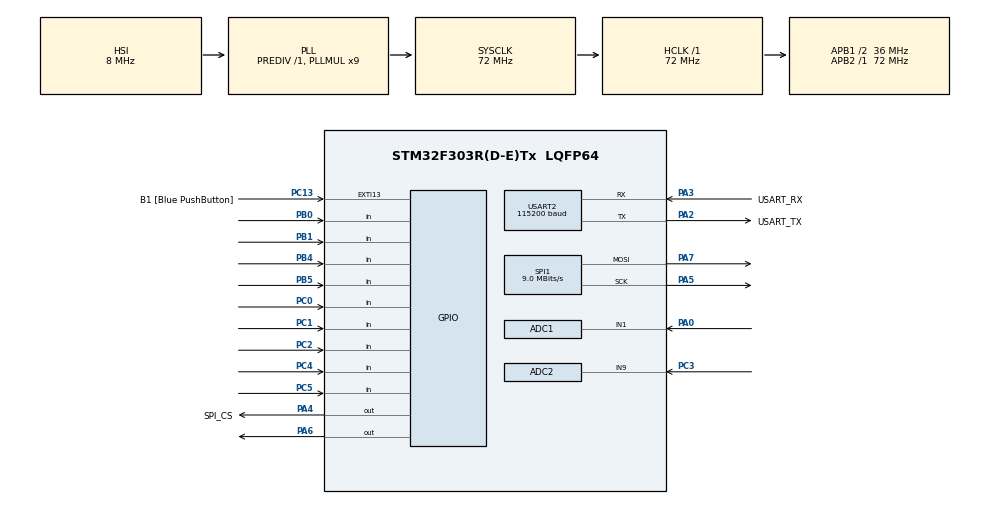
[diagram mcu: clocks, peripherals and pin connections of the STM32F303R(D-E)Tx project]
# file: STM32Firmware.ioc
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ADC1.Channel-0\#ChannelRegularConversion=ADC_CHANNEL_1
ADC1.ClockPrescaler=ADC_CLOCK_SYNC_PCLK_DIV1
ADC1.ExternalTrigConv=ADC_EXTERNALTRIGCONV_T3_TRGO
ADC1.NbrOfConversionFlag=1
ADC1.Offset-0\#ChannelRegularConversion=0
ADC1.OffsetNumber-0\#ChannelRegularConversion=ADC_OFFSET_NONE
ADC1.Rank-0\#ChannelRegularConversion=1
ADC1.SamplingTime-0\#ChannelRegularConversion=ADC_SAMPLETIME_61CYCLES_5
ADC1.master=1
ADC2.Channel-0\#ChannelRegularConversion=ADC_CHANNEL_9
ADC2.ClockPrescaler=ADC_CLOCK_SYNC_PCLK_DIV1
ADC2.ExternalTrigConv=ADC_EXTERNALTRIGCONV_T3_TRGO
ADC2.NbrOfConversionFlag=1
ADC2.Offset-0\#ChannelRegularConversion=0
ADC2.OffsetNumber-0\#ChannelRegularConversion=ADC_OFFSET_NONE
ADC2.Rank-0\#ChannelRegularConversion=1
ADC2.SamplingTime-0\#ChannelRegularConversion=ADC_SAMPLETIME_61CYCLES_5
ADC2.SamplingTimeOPAMP-0\#ChannelRegularConversion=ADC_SAMPLETIME_61CYCLES_5
Dma.ADC1.1.Direction=DMA_PERIPH_TO_MEMORY
Dma.ADC1.1.Instance=DMA1_Channel1
Dma.ADC1.1.MemDataAlignment=DMA_MDATAALIGN_HALFWORD
Dma.ADC1.1.MemInc=DMA_MINC_ENABLE
Dma.ADC1.1.Mode=DMA_CIRCULAR
Dma.ADC1.1.PeriphDataAlignment=DMA_PDATAALIGN_HALFWORD
Dma.ADC1.1.PeriphInc=DMA_PINC_DISABLE
Dma.ADC1.1.Priority=DMA_PRIORITY_HIGH
Dma.ADC2.2.Direction=DMA_PERIPH_TO_MEMORY
Dma.ADC2.2.Instance=DMA2_Channel1
Dma.ADC2.2.MemDataAlignment=DMA_MDATAALIGN_HALFWORD
Dma.ADC2.2.MemInc=DMA_MINC_ENABLE
Dma.ADC2.2.Mode=DMA_CIRCULAR
Dma.ADC2.2.PeriphDataAlignment=DMA_PDATAALIGN_HALFWORD
Dma.ADC2.2.PeriphInc=DMA_PINC_DISABLE
Dma.ADC2.2.Priority=DMA_PRIORITY_HIGH
Dma.Request0=SPI1_TX
Dma.Request1=ADC1
Dma.Request2=ADC2
Dma.SPI1_TX.0.Direction=DMA_MEMORY_TO_PERIPH
Dma.SPI1_TX.0.Instance=DMA1_Channel3
Dma.SPI1_TX.0.MemDataAlignment=DMA_MDATAALIGN_BYTE
Dma.SPI1_TX.0.MemInc=DMA_MINC_ENABLE
Dma.SPI1_TX.0.Mode=DMA_NORMAL
Dma.SPI1_TX.0.PeriphDataAlignment=DMA_PDATAALIGN_BYTE
Dma.SPI1_TX.0.PeriphInc=DMA_PINC_DISABLE
Dma.SPI1_TX.0.Priority=DMA_PRIORITY_LOW
Mcu.Family=STM32F3
Mcu.Name=STM32F303R(D-E)Tx
Mcu.Package=LQFP64
NVIC.DMA1_Channel1_IRQn=true\:0\:0\:false\:false\:true\:false\:true\:true
NVIC.DMA1_Channel3_IRQn=true\:0\:0\:false\:false\:true\:false\:true\:true
NVIC.DMA2_Channel1_IRQn=true\:0\:0\:false\:false\:true\:false\:true\:true
NVIC.PriorityGroup=NVIC_PRIORITYGROUP_0
NVIC.SPI1_IRQn=true\:0\:0\:false\:false\:true\:true\:true\:true
PA0.Mode=IN1-Single-Ended
PA0.Signal=ADC1_IN1
PA13.GPIO_Label=TMS
PA13.Mode=Serial_Wire
PA13.Signal=SYS_JTMS-SWDIO
PA14.GPIO_Label=TCK
PA14.Mode=Serial_Wire
PA14.Signal=SYS_JTCK-SWCLK
PA2.GPIO_Label=USART_TX
PA2.GPIO_Mode=GPIO_MODE_AF_PP
PA2.GPIO_PuPd=GPIO_NOPULL
PA2.GPIO_Speed=GPIO_SPEED_FREQ_LOW
PA2.Mode=Asynchronous
PA2.Signal=USART2_TX
PA3.GPIO_Label=USART_RX
PA3.GPIO_Mode=GPIO_MODE_AF_PP
PA3.GPIO_PuPd=GPIO_NOPULL
PA3.GPIO_Speed=GPIO_SPEED_FREQ_LOW
PA3.Mode=Asynchronous
PA3.Signal=USART2_RX
PA4.GPIO_Label=SPI_CS
PA4.Signal=GPIO_Output
PA5.Mode=TX_Only_Simplex_Unidirect_Master
PA5.Signal=SPI1_SCK
PA6.Signal=GPIO_Output
PA7.Mode=TX_Only_Simplex_Unidirect_Master
PA7.Signal=SPI1_MOSI
PB0.GPIO_PuPd=GPIO_PULLUP
PB0.Signal=GPIO_Input
PB1.GPIO_PuPd=GPIO_PULLUP
PB1.Signal=GPIO_Input
PB3.GPIO_Label=SWO
PB3.Signal=SYS_JTDO-TRACESWO
PB4.GPIO_PuPd=GPIO_PULLUP
PB4.Signal=GPIO_Input
PB5.GPIO_PuPd=GPIO_PULLUP
PB5.Signal=GPIO_Input
PC0.GPIO_PuPd=GPIO_PULLUP
PC0.Signal=GPIO_Input
PC1.GPIO_PuPd=GPIO_PULLUP
PC1.Signal=GPIO_Input
PC13.GPIO_Label=B1 [Blue PushButton]
PC13.GPIO_ModeDefaultEXTI=GPIO_MODE_IT_FALLING
PC13.Signal=GPXTI13
PC14-OSC32_IN.Mode=LSE-External-Oscillator
PC14-OSC32_IN.Signal=RCC_OSC32_IN
PC15-OSC32_OUT.Mode=LSE-External-Oscillator
PC15-OSC32_OUT.Signal=RCC_OSC32_OUT
PC2.GPIO_PuPd=GPIO_PULLUP
PC2.Signal=GPIO_Input
PC3.Signal=ADCx_IN9
PC4.GPIO_PuPd=GPIO_PULLUP
PC4.Signal=GPIO_Input
PC5.GPIO_PuPd=GPIO_PULLUP
PC5.Signal=GPIO_Input
PF0-OSC_IN.Mode=HSE-External-Clock-Source
PF0-OSC_IN.Signal=RCC_OSC_IN
PF1-OSC_OUT.Signal=RCC_OSC_OUT
ProjectManager.HeapSize=0x200
ProjectManager.StackSize=0x400
ProjectManager.TargetToolchain=STM32CubeIDE
RCC.AHBFreq_Value=72000000
RCC.APB1CLKDivider=RCC_HCLK_DIV2
RCC.APB1Freq_Value=36000000
RCC.APB1TimFreq_Value=72000000
RCC.APB2Freq_Value=72000000
RCC.APB2TimFreq_Value=72000000
RCC.CortexFreq_Value=72000000
RCC.HCLKFreq_Value=72000000
RCC.HSE_VALUE=8000000
RCC.HSI_VALUE=8000000
RCC.PLLM=8
RCC.PLLMUL=RCC_PLL_MUL9
RCC.PLLN=336
RCC.PLLP=RCC_PLLP_DIV4
RCC.PLLQ=7
RCC.RCC_PLLsource_Clock_Source_FROM_HSE=RCC_HSE_PREDIV_DIV2
RCC.SYSCLKFreq_VALUE=72000000
RCC.SYSCLKSourceVirtual=RCC_SYSCLKSOURCE_PLLCLK
RCC.USBFreq_Value=72000000
SH.ADCx_IN9.0=ADC2_IN9,IN9-Single-Ended
SPI1.BaudRatePrescaler=SPI_BAUDRATEPRESCALER_8
SPI1.CalculateBaudRate=9.0 MBits/s
SPI1.DataSize=SPI_DATASIZE_8BIT
SPI1.Direction=SPI_DIRECTION_2LINES
SPI1.Mode=SPI_MODE_MASTER
SPI1.VirtualType=VM_MASTER
TIM3.Period=9
TIM3.Prescaler=71
TIM3.TIM_MasterOutputTrigger=TIM_TRGO_UPDATE
USART2.BaudRate=115200
USART2.VirtualMode-Asynchronous=VM_ASYNC
VP_TIM3_VS_ClockSourceINT.Mode=Internal
board=NUCLEO-F303RE

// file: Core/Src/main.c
/* USER CODE BEGIN Header */
/**
  ******************************************************************************
  * @file           : main.c
  * @brief          : Main program body
  ******************************************************************************
  * @attention
  *
  * Copyright (c) 2026 STMicroelectronics.
  * All rights reserved.
  *
  * This software is licensed under terms that can be found in the LICENSE file
  * in the root directory of this software component.
  * If no LICENSE file comes with this software, it is provided AS-IS.
  *
  ******************************************************************************
  */
/* USER CODE END Header */
#include "main.h"

/* USER CODE BEGIN Includes */
#include <string.h>
#include <math.h>
/* USER CODE END Includes */

ADC_HandleTypeDef hadc1;
ADC_HandleTypeDef hadc2;
DMA_HandleTypeDef hdma_adc1;
DMA_HandleTypeDef hdma_adc2;

SPI_HandleTypeDef hspi1;
DMA_HandleTypeDef hdma_spi1_tx;

TIM_HandleTypeDef htim3;

UART_HandleTypeDef huart2;

/* USER CODE BEGIN PV */
// Set số lượng mẫu thu thập cho mỗi khung hình là 1024 mẫu/kênh
#define SAMPLES_PER_CH    1024
// Tổng số mẫu DMA cần lấy = Kênh 1 + Kênh 2
#define TOTAL_SAMPLES	(SAMPLES_PER_CH * 2)

// Khai báo struct đóng gói dữ liệu truyền qua SPI.
// dùng __attribute__((packed)) để vô hiệu hóa tính năng tự động đệm (padding) của GCC.
typedef struct __attribute__((packed)){
	uint8_t header[2]; // Byte header: 0xAA, 0xBB để ESP32 nhận diện điểm bắt đầu gói tin
	uint16_t ch1[SAMPLES_PER_CH]; // Dữ liệu thô ADC Kênh 1 (1024 mẫu * 2 byte = 2048 bytes)
	uint16_t ch2[SAMPLES_PER_CH]; // Dữ liệu thô ADC Kênh 2 (1024 mẫu * 2 byte = 2048 bytes)
	uint8_t padding[2]; // 2 byte padding thủ công để chống lỗi Hardfault do Misaligned memory access trên vi điều khiển ARM

	// Các thông số điện áp & thời gian đo được
	float vpp1, vpp2; // Điện áp đỉnh-đỉnh (Peak-to-Peak)
	float freq1, freq2; // Tần số (Frequency)
	float vavg1, vavg2; // Điện áp trung bình (Average/DC Offset)
	float vrms1, vrms2; // Điện áp hiệu dụng thực (True RMS)
	float vamp1, vamp2; // Biên độ sóng (Amplitude)
	uint16_t trigger_idx1; // Vị trí điểm kích hoạt (Trigger Point) trong mảng để ESP32 làm mốc vẽ sóng
	uint16_t trigger_idx2;

	// --- KHỐI ĐIỀU KHIỂN (Giao tiếp với giao diện LCD) ---
	uint8_t hold_flag; // Cờ dừng màn hình (0: Đang chạy, 1: Giữ nguyên khung hình)
	uint8_t ch_mode;   // Cờ bitmask chọn kênh hiển thị (1: CH1, 2: CH2, 3: Bật cả 2 kênh)
	float y_scale1;    // Hệ số phóng to/thu nhỏ trục Y của CH1 (điều khiển bởi Encoder 1)
	float y_scale2;    // Hệ số phóng to/thu nhỏ trục Y của CH2 (điều khiển bởi Encoder 1)
	float x_scale1;	   // Hệ số thu phóng trục X của CH1
	float x_scale2;    // Hệ số thu phóng trục Y của CH2
	int16_t y_offset1; // Số pixel dịch chuyển sóng lên/xuống của CH1
	int16_t y_offset2; // Số pixel dịch chuyển sóng lên/xuống của CH2

	// --- KHỐI OFFSET X/Y ---
	uint8_t offset_axis; // Trạng thái của nút nhấn: 0 đang chọn chỉnh Y, 1 đang chọn chỉnh X
	int16_t x_offset1; // Số pixel dịch chuyển trục thời gian (X) cho CH1
	int16_t x_offset2; // Số pixel dịch chuyển trục thời gian (X) cho CH2
	uint8_t reset_flag; // Cờ reset

	uint8_t footer[2]; // Byte footer: 0xCC, 0xDD
} Packet_t;

Packet_t tx_packet; // Khởi tạo biến toàn cục chứa gói tin
#define PACKET_SIZE sizeof(Packet_t)
uint8_t adc_running = 1;
volatile uint8_t adc1_ready = 0;
volatile uint8_t adc2_ready = 0;
volatile uint8_t is_holding = 0;
/* USER CODE END PV */

void SystemClock_Config(void);
static void MX_GPIO_Init(void);
static void MX_DMA_Init(void);
static void MX_TIM3_Init(void);
static void MX_USART2_UART_Init(void);
static void MX_SPI1_Init(void);
static void MX_ADC1_Init(void);
static void MX_ADC2_Init(void);
/* USER CODE BEGIN PFP */
// Hàm xử lý tín hiệu: Tìm Trigger, tính Vrms, Vpp, Freq
uint16_t Process_Signal(uint16_t* raw_data, float* vpp, float* freq, float* vavg, float* vrms, float* vamp);
/* USER CODE END PFP */

int main(void)
{

  /* MCU Configuration--------------------------------------------------------*/

  /* Reset of all peripherals, Initializes the Flash interface and the Systick. */
  HAL_Init();

  /* Configure the system clock */
  SystemClock_Config();

  /* Initialize all configured peripherals */
  MX_GPIO_Init();
  MX_DMA_Init();
  MX_TIM3_Init();
  MX_USART2_UART_Init();
  MX_SPI1_Init();
  MX_ADC1_Init();
  MX_ADC2_Init();
  /* USER CODE BEGIN 2 */
  // Khởi tạo ban đầu: Chốt chân Chip Select (CS) của SPI ở mức CAO (Không truyền)
  HAL_GPIO_WritePin(GPIOA, GPIO_PIN_4, GPIO_PIN_SET);

  // Set cứng các byte Header và Footer để định dạng gói tin giao thức
  tx_packet.header[0] = 0xAA;
  tx_packet.header[1] = 0xBB;
  tx_packet.footer[0] = 0xCC;
  tx_packet.footer[1] = 0xDD;

  // Calib ADC để loại bỏ sai số nội vi trước khi chạy thực tế
//  HAL_ADCEx_Calibration_Start(&hadc1, ADC_SINGLE_ENDED);
//  HAL_ADCEx_Calibration_Start(&hadc2, ADC_SINGLE_ENDED);
  // Kích hoạt bộ chuyển đổi ADC chạy ở chế độ DMA Circular
  HAL_ADC_Start_DMA(&hadc1, (uint32_t*)tx_packet.ch1, SAMPLES_PER_CH);
  HAL_ADC_Start_DMA(&hadc2, (uint32_t*)tx_packet.ch2, SAMPLES_PER_CH);

  // Khởi động Timer 3. Timer 3 được cấu hình làm TRGO (Trigger Output) tạo xung đập nhịp 100kHz để kích ADC lấy mẫu.
  HAL_TIM_Base_Start(&htim3);

  // Khởi tạo các biến quản lý trạng thái
  uint32_t last_btn_tick = 0;
  tx_packet.y_scale1 = 1.0f;
  tx_packet.y_scale2 = 1.0f;
  tx_packet.x_scale1 = 1.0f;
  tx_packet.x_scale2 = 1.0f;
  tx_packet.y_offset1 = 0;
  tx_packet.y_offset2 = 0;
  tx_packet.offset_axis = 0;
  tx_packet.x_offset1 = 0;
  tx_packet.x_offset2 = 0;

  // Biến lưu trạng thái của 2 chân CLK Encoder để so sánh cạnh xuống
  uint8_t last_clk1 = 1;
  uint8_t last_clk2 = 1;
  // Khởi tạo 2 biến dùng để chống dội phím (Debounce) cho Encoder
  uint32_t last_enc1_tick = 0;
  uint32_t last_enc2_tick = 0;
  /* USER CODE END 2 */

  /* Infinite loop */
  while (1)
  {

    /* USER CODE BEGIN 3 */
	  uint32_t current_tick = HAL_GetTick(); // Lấy thời gian ms hiện tại của hệ thống

	  //--- 1. ĐỌC CÔNG TẮC CHỌN KÊNH ---
	  // Kiểm tra chân PC4 và PC5
	  uint8_t ch1_en = (HAL_GPIO_ReadPin(GPIOC, GPIO_PIN_4) == GPIO_PIN_RESET) ? 1:0;
	  uint8_t ch2_en = (HAL_GPIO_ReadPin(GPIOC, GPIO_PIN_5) == GPIO_PIN_RESET) ? 2:0;
	  // Dùng phép toán OR Bitmask để gộp chung cờ hiển thị (1: bật CH1, 2: bật CH2, 3: bật cả 2)
	  tx_packet.ch_mode = ch1_en | ch2_en;

	  //--- 2. ĐỌC NÚT NHẤN (Có Debounce 200ms) ---
	  // Giải thuật chống rung: Chỉ chấp nhận lần bấm tiếp theo nếu khoảng cách giữa 2 lần bấm cách nhau > 200ms.
	  if(current_tick - last_btn_tick > 200){

		  // Nút Dừng hình / Chạy tiếp (Hold)
		  if (HAL_GPIO_ReadPin(GPIOC, GPIO_PIN_0) == GPIO_PIN_RESET){
		                is_holding = !is_holding;
		                tx_packet.hold_flag = is_holding;

		                // ĐIỀU KHIỂN ADC THEO TRẠNG THÁI HOLD
		                if (is_holding) {
		                    HAL_ADC_Stop_DMA(&hadc1);
		                    HAL_ADC_Stop_DMA(&hadc2);
		                    adc_running = 0;
		                } else {
		                    HAL_ADC_Start_DMA(&hadc1, (uint32_t*)tx_packet.ch1, SAMPLES_PER_CH);
		                    HAL_ADC_Start_DMA(&hadc2, (uint32_t*)tx_packet.ch2, SAMPLES_PER_CH);
		                    adc_running = 1;
		                }

		                last_btn_tick = current_tick;
		  }
		  // Nút Autoset (Trả mọi thông số về default)
		  else if (HAL_GPIO_ReadPin(GPIOC, GPIO_PIN_1) == GPIO_PIN_RESET){
			  tx_packet.x_scale1 = 1.0f;
			  tx_packet.x_scale2 = 1.0f;
			  tx_packet.y_scale1 = 1.0f; // Trả hệ số zoom trục Y về 1x
			  tx_packet.y_scale2 = 1.0f;
			  tx_packet.y_offset1 = 0;   // Trả vị trí gốc Y về giữa màn hình
			  tx_packet.y_offset2 = 0;
			  tx_packet.x_offset1 = 0;   // Trả gốc thời gian X về ban đầu
			  tx_packet.x_offset2 = 0;
			  tx_packet.offset_axis = 0;
			  tx_packet.reset_flag = 1;  // Bật cờ để ra lệnh cho ESP32 clear màn hình
			  last_btn_tick = current_tick;
		  }
		  // Nút Chuyển chế độ điều khiển trục (X hoặc Y)
		  else if (HAL_GPIO_ReadPin(GPIOC, GPIO_PIN_2) == GPIO_PIN_RESET){
			  tx_packet.offset_axis = !tx_packet.offset_axis; // Đảo trạng thái 0 <-> 1
			  last_btn_tick = current_tick;
		  }
	  }

	  //--- 3. ĐỌC ROTARY ENCODER ---
	  	  // ENCODER 1: Dùng để phóng to/thu nhỏ sóng (Scale Y/X)
	  	  uint8_t clk1 = HAL_GPIO_ReadPin(GPIOB, GPIO_PIN_0);

	  	  // Phát hiện cạnh xuống và đảm bảo khoảng cách giữa 2 lần nhận tín hiệu tối thiểu là 50ms (chống dội)
	  	  if (clk1 == 0 && last_clk1 == 1 && (current_tick - last_enc1_tick > 20)){

	  		  // Nếu chân DT khác mức logic của CLK -> Quay cùng chiều kim đồng hồ (Tăng). Ngược lại là giảm.
	  		  float delta = (HAL_GPIO_ReadPin(GPIOB, GPIO_PIN_1) != clk1) ? 0.2f : -0.2f;
	  		  if (tx_packet.offset_axis == 0){
	  			 if (ch1_en) {
	  				 tx_packet.y_scale1 += delta;
	  				 if (tx_packet.y_scale1 < 0.2f) tx_packet.y_scale1 = 0.2f;
	  				 if (tx_packet.y_scale1 > 5.0f) tx_packet.y_scale1 = 5.0f;
	  			 }
	  			 if (ch2_en) {
	  				tx_packet.y_scale2 += delta;
	  				if (tx_packet.y_scale2 < 0.2f) tx_packet.y_scale2 = 0.2f;
	  				if (tx_packet.y_scale2 > 5.0f) tx_packet.y_scale2 = 5.0f;
	  			 }
	  		  } else {
	  			if (ch1_en) {
	  				tx_packet.x_scale1 += delta;
	  				if (tx_packet.x_scale1 < 0.8f) tx_packet.x_scale1 = 0.8f;
	  				if (tx_packet.x_scale1 > 2.5f) tx_packet.x_scale1 = 2.5f;
	  			}
	  			if (ch2_en) {
	  				tx_packet.x_scale2 += delta;
	  				if (tx_packet.x_scale2 < 0.8f) tx_packet.x_scale2 = 0.8f;
	  				if (tx_packet.x_scale2 > 2.5f) tx_packet.x_scale2 = 2.5f;
	  			}
	  		  }
	  		  last_enc1_tick = current_tick; // Chốt thời gian lặp để block các tín hiệu nhiễu tiếp theo
	  	  }
	  	  last_clk1 = clk1;

	  	  // ENCODER 2: Dùng để dịch chuyển vị trí sóng theo trục ngang (X) hoặc dọc (Y)
	  	  uint8_t clk2 = HAL_GPIO_ReadPin(GPIOB, GPIO_PIN_4);

	  	  if (clk2 == 0 && last_clk2 == 1 && (current_tick - last_enc2_tick > 10)){

	  	  		int delta_y = (HAL_GPIO_ReadPin(GPIOB, GPIO_PIN_5) != clk2) ? -10 : 10;
	  	  		int delta_x = (HAL_GPIO_ReadPin(GPIOB, GPIO_PIN_5) != clk2) ? -5 : 5;

	  	        if (tx_packet.offset_axis == 0) {
	  	            // --- CHẾ ĐỘ 0: ĐANG CHỌN DỊCH THEO TRỤC Y ---
	  	            if(ch1_en) {
	  	                tx_packet.y_offset1 += delta_y;
	  	                if (tx_packet.y_offset1 > 200) tx_packet.y_offset1 = 200;
	  	                if (tx_packet.y_offset1 < -200) tx_packet.y_offset1 = -200;
	  	            }
	  	            if (ch2_en) {
	  	                tx_packet.y_offset2 += delta_y;
	  	                if (tx_packet.y_offset2 > 200) tx_packet.y_offset2 = 200;
	  	                if (tx_packet.y_offset2 < -200) tx_packet.y_offset2 = -200;
	  	            }
	  	        } else {
	  	            // --- CHẾ ĐỘ 1: ĐANG CHỌN DỊCH THEO TRỤC X (THỜI GIAN) ---
	  	            if(ch1_en) {
	  	                tx_packet.x_offset1 += delta_x;
	  	                if (tx_packet.x_offset1 > 250) tx_packet.x_offset1 = 250;
	  	                if (tx_packet.x_offset1 < -75) tx_packet.x_offset1 = -75;
	  	            }
	  	            if (ch2_en) {
	  	                tx_packet.x_offset2 += delta_x;
	  	                if (tx_packet.x_offset2 > 250) tx_packet.x_offset2 = 250;
	  	                if (tx_packet.x_offset2 < -75) tx_packet.x_offset2 = -75;
	  	            }
	  	        }
	  	        last_enc2_tick = current_tick;
	  	  }
	  	  last_clk2 = clk2;
	  // --- 4. TÁCH DỮ LIỆU DMA, XỬ LÝ DSP VÀ TRUYỀN SPI ---
	  // Cờ data_ready_flag được kích bởi các hàm callback ngắt của DMA khi nó điền xong Ping hoặc Pong
      if (adc1_ready == 1 && adc2_ready == 1 || is_holding) {

    	  // CẬP NHẬT VÀ XỬ LÝ SÓNG (Chỉ chạy khi người dùng KHÔNG bấm Hold)
    	  if (is_holding == 0) {
    	      tx_packet.trigger_idx1 = Process_Signal(tx_packet.ch1, &tx_packet.vpp1, &tx_packet.freq1, &tx_packet.vavg1, &tx_packet.vrms1, &tx_packet.vamp1);
        	  tx_packet.trigger_idx2 = Process_Signal(tx_packet.ch2, &tx_packet.vpp2, &tx_packet.freq2, &tx_packet.vavg2, &tx_packet.vrms2, &tx_packet.vamp2);
        	  adc1_ready = 0;
        	  adc2_ready = 0;
    	  }

    	  // Luôn truyền SPI để Web/LCD cập nhật được trạng thái [STOP]/[RUN]
    	  // và các lệnh Encoder Zoom/Offset vẫn có tác dụng trên hình tĩnh.
    	  if (HAL_SPI_GetState(&hspi1) == HAL_SPI_STATE_READY) {
    		  HAL_GPIO_WritePin(GPIOA, GPIO_PIN_4, GPIO_PIN_RESET);
    		  HAL_SPI_Transmit_DMA(&hspi1, (uint8_t*)&tx_packet, PACKET_SIZE);
    	  }

    	  // Nếu đang HOLD, ta thêm một chút delay nhỏ để vòng lặp không chạy quá nhanh gây nghẽn SPI
    	  if (is_holding) {
    		  HAL_Delay(50);
    	  }
      }
  }
  /* USER CODE END 3 */
}

void SystemClock_Config(void)
{
  RCC_OscInitTypeDef RCC_OscInitStruct = {0};
  RCC_ClkInitTypeDef RCC_ClkInitStruct = {0};
  RCC_PeriphCLKInitTypeDef PeriphClkInit = {0};

  /** Initializes the RCC Oscillators according to the specified parameters
  * in the RCC_OscInitTypeDef structure.
  */
  RCC_OscInitStruct.OscillatorType = RCC_OSCILLATORTYPE_HSI;
  RCC_OscInitStruct.HSIState = RCC_HSI_ON;
  RCC_OscInitStruct.HSICalibrationValue = RCC_HSICALIBRATION_DEFAULT;
  RCC_OscInitStruct.PLL.PLLState = RCC_PLL_ON;
  RCC_OscInitStruct.PLL.PLLSource = RCC_PLLSOURCE_HSI;
  RCC_OscInitStruct.PLL.PLLMUL = RCC_PLL_MUL9;
  RCC_OscInitStruct.PLL.PREDIV = RCC_PREDIV_DIV1;
  if (HAL_RCC_OscConfig(&RCC_OscInitStruct) != HAL_OK)
  {
    Error_Handler();
  }

  /** Initializes the CPU, AHB and APB buses clocks
  */
  RCC_ClkInitStruct.ClockType = RCC_CLOCKTYPE_HCLK|RCC_CLOCKTYPE_SYSCLK
                              |RCC_CLOCKTYPE_PCLK1|RCC_CLOCKTYPE_PCLK2;
  RCC_ClkInitStruct.SYSCLKSource = RCC_SYSCLKSOURCE_PLLCLK;
  RCC_ClkInitStruct.AHBCLKDivider = RCC_SYSCLK_DIV1;
  RCC_ClkInitStruct.APB1CLKDivider = RCC_HCLK_DIV2;
  RCC_ClkInitStruct.APB2CLKDivider = RCC_HCLK_DIV1;

  if (HAL_RCC_ClockConfig(&RCC_ClkInitStruct, FLASH_LATENCY_2) != HAL_OK)
  {
    Error_Handler();
  }
  PeriphClkInit.PeriphClockSelection = RCC_PERIPHCLK_USART2|RCC_PERIPHCLK_TIM34;
  PeriphClkInit.Usart2ClockSelection = RCC_USART2CLKSOURCE_PCLK1;
  PeriphClkInit.Tim34ClockSelection = RCC_TIM34CLK_HCLK;
  if (HAL_RCCEx_PeriphCLKConfig(&PeriphClkInit) != HAL_OK)
  {
    Error_Handler();
  }
}

static void MX_ADC1_Init(void)
{

  ADC_MultiModeTypeDef multimode = {0};
  ADC_ChannelConfTypeDef sConfig = {0};

  /** Common config
  */
  hadc1.Instance = ADC1;
  hadc1.Init.ClockPrescaler = ADC_CLOCK_SYNC_PCLK_DIV1;
  hadc1.Init.Resolution = ADC_RESOLUTION_12B;
  hadc1.Init.ScanConvMode = ADC_SCAN_DISABLE;
  hadc1.Init.ContinuousConvMode = DISABLE;
  hadc1.Init.DiscontinuousConvMode = DISABLE;
  hadc1.Init.ExternalTrigConvEdge = ADC_EXTERNALTRIGCONVEDGE_RISING;
  hadc1.Init.ExternalTrigConv = ADC_EXTERNALTRIGCONV_T3_TRGO;
  hadc1.Init.DataAlign = ADC_DATAALIGN_RIGHT;
  hadc1.Init.NbrOfConversion = 1;
  hadc1.Init.DMAContinuousRequests = DISABLE;
  hadc1.Init.EOCSelection = ADC_EOC_SINGLE_CONV;
  hadc1.Init.LowPowerAutoWait = DISABLE;
  hadc1.Init.Overrun = ADC_OVR_DATA_OVERWRITTEN;
  if (HAL_ADC_Init(&hadc1) != HAL_OK)
  {
    Error_Handler();
  }

  /** Configure the ADC multi-mode
  */
  multimode.Mode = ADC_MODE_INDEPENDENT;
  if (HAL_ADCEx_MultiModeConfigChannel(&hadc1, &multimode) != HAL_OK)
  {
    Error_Handler();
  }

  /** Configure Regular Channel
  */
  sConfig.Channel = ADC_CHANNEL_1;
  sConfig.Rank = ADC_REGULAR_RANK_1;
  sConfig.SingleDiff = ADC_SINGLE_ENDED;
  sConfig.SamplingTime = ADC_SAMPLETIME_61CYCLES_5;
  sConfig.OffsetNumber = ADC_OFFSET_NONE;
  sConfig.Offset = 0;
  if (HAL_ADC_ConfigChannel(&hadc1, &sConfig) != HAL_OK)
  {
    Error_Handler();
  }

}

static void MX_ADC2_Init(void)
{

  ADC_ChannelConfTypeDef sConfig = {0};

  /** Common config
  */
  hadc2.Instance = ADC2;
  hadc2.Init.ClockPrescaler = ADC_CLOCK_SYNC_PCLK_DIV1;
  hadc2.Init.Resolution = ADC_RESOLUTION_12B;
  hadc2.Init.ScanConvMode = ADC_SCAN_DISABLE;
  hadc2.Init.ContinuousConvMode = DISABLE;
  hadc2.Init.DiscontinuousConvMode = DISABLE;
  hadc2.Init.ExternalTrigConvEdge = ADC_EXTERNALTRIGCONVEDGE_RISING;
  hadc2.Init.ExternalTrigConv = ADC_EXTERNALTRIGCONV_T3_TRGO;
  hadc2.Init.DataAlign = ADC_DATAALIGN_RIGHT;
  hadc2.Init.NbrOfConversion = 1;
  hadc2.Init.DMAContinuousRequests = DISABLE;
  hadc2.Init.EOCSelection = ADC_EOC_SINGLE_CONV;
  hadc2.Init.LowPowerAutoWait = DISABLE;
  hadc2.Init.Overrun = ADC_OVR_DATA_OVERWRITTEN;
  if (HAL_ADC_Init(&hadc2) != HAL_OK)
  {
    Error_Handler();
  }

  /** Configure Regular Channel
  */
  sConfig.Channel = ADC_CHANNEL_9;
  sConfig.Rank = ADC_REGULAR_RANK_1;
  sConfig.SingleDiff = ADC_SINGLE_ENDED;
  sConfig.SamplingTime = ADC_SAMPLETIME_61CYCLES_5;
  sConfig.OffsetNumber = ADC_OFFSET_NONE;
  sConfig.Offset = 0;
  if (HAL_ADC_ConfigChannel(&hadc2, &sConfig) != HAL_OK)
  {
    Error_Handler();
  }

}

static void MX_SPI1_Init(void)
{

  /* SPI1 parameter configuration*/
  hspi1.Instance = SPI1;
  hspi1.Init.Mode = SPI_MODE_MASTER;
  hspi1.Init.Direction = SPI_DIRECTION_2LINES;
  hspi1.Init.DataSize = SPI_DATASIZE_8BIT;
  hspi1.Init.CLKPolarity = SPI_POLARITY_LOW;
  hspi1.Init.CLKPhase = SPI_PHASE_1EDGE;
  hspi1.Init.NSS = SPI_NSS_SOFT;
  hspi1.Init.BaudRatePrescaler = SPI_BAUDRATEPRESCALER_8;
  hspi1.Init.FirstBit = SPI_FIRSTBIT_MSB;
  hspi1.Init.TIMode = SPI_TIMODE_DISABLE;
  hspi1.Init.CRCCalculation = SPI_CRCCALCULATION_DISABLE;
  hspi1.Init.CRCPolynomial = 7;
  hspi1.Init.CRCLength = SPI_CRC_LENGTH_DATASIZE;
  hspi1.Init.NSSPMode = SPI_NSS_PULSE_ENABLE;
  if (HAL_SPI_Init(&hspi1) != HAL_OK)
  {
    Error_Handler();
  }

}

static void MX_TIM3_Init(void)
{

  TIM_ClockConfigTypeDef sClockSourceConfig = {0};
  TIM_MasterConfigTypeDef sMasterConfig = {0};

  htim3.Instance = TIM3;
  htim3.Init.Prescaler = 71;
  htim3.Init.CounterMode = TIM_COUNTERMODE_UP;
  htim3.Init.Period = 9;
  htim3.Init.ClockDivision = TIM_CLOCKDIVISION_DIV1;
  htim3.Init.AutoReloadPreload = TIM_AUTORELOAD_PRELOAD_DISABLE;
  if (HAL_TIM_Base_Init(&htim3) != HAL_OK)
  {
    Error_Handler();
  }
  sClockSourceConfig.ClockSource = TIM_CLOCKSOURCE_INTERNAL;
  if (HAL_TIM_ConfigClockSource(&htim3, &sClockSourceConfig) != HAL_OK)
  {
    Error_Handler();
  }
  sMasterConfig.MasterOutputTrigger = TIM_TRGO_UPDATE;
  sMasterConfig.MasterSlaveMode = TIM_MASTERSLAVEMODE_DISABLE;
  if (HAL_TIMEx_MasterConfigSynchronization(&htim3, &sMasterConfig) != HAL_OK)
  {
    Error_Handler();
  }

}

static void MX_USART2_UART_Init(void)
{

  huart2.Instance = USART2;
  huart2.Init.BaudRate = 115200;
  huart2.Init.WordLength = UART_WORDLENGTH_8B;
  huart2.Init.StopBits = UART_STOPBITS_1;
  huart2.Init.Parity = UART_PARITY_NONE;
  huart2.Init.Mode = UART_MODE_TX_RX;
  huart2.Init.HwFlowCtl = UART_HWCONTROL_NONE;
  huart2.Init.OverSampling = UART_OVERSAMPLING_16;
  huart2.Init.OneBitSampling = UART_ONE_BIT_SAMPLE_DISABLE;
  huart2.AdvancedInit.AdvFeatureInit = UART_ADVFEATURE_NO_INIT;
  if (HAL_UART_Init(&huart2) != HAL_OK)
  {
    Error_Handler();
  }

}

static void MX_DMA_Init(void)
{

  /* DMA controller clock enable */
  __HAL_RCC_DMA1_CLK_ENABLE();
  __HAL_RCC_DMA2_CLK_ENABLE();

  /* DMA interrupt init */
  /* DMA1_Channel1_IRQn interrupt configuration */
  HAL_NVIC_SetPriority(DMA1_Channel1_IRQn, 0, 0);
  HAL_NVIC_EnableIRQ(DMA1_Channel1_IRQn);
  /* DMA1_Channel3_IRQn interrupt configuration */
  HAL_NVIC_SetPriority(DMA1_Channel3_IRQn, 0, 0);
  HAL_NVIC_EnableIRQ(DMA1_Channel3_IRQn);
  /* DMA2_Channel1_IRQn interrupt configuration */
  HAL_NVIC_SetPriority(DMA2_Channel1_IRQn, 0, 0);
  HAL_NVIC_EnableIRQ(DMA2_Channel1_IRQn);

}

static void MX_GPIO_Init(void)
{
  GPIO_InitTypeDef GPIO_InitStruct = {0};

  /* GPIO Ports Clock Enable */
  __HAL_RCC_GPIOC_CLK_ENABLE();
  __HAL_RCC_GPIOF_CLK_ENABLE();
  __HAL_RCC_GPIOA_CLK_ENABLE();
  __HAL_RCC_GPIOB_CLK_ENABLE();

  /*Configure GPIO pin Output Level */
  HAL_GPIO_WritePin(GPIOA, SPI_CS_Pin|GPIO_PIN_6, GPIO_PIN_RESET);

  /*Configure GPIO pin : B1_Pin */
  GPIO_InitStruct.Pin = B1_Pin;
  GPIO_InitStruct.Mode = GPIO_MODE_IT_FALLING;
  GPIO_InitStruct.Pull = GPIO_NOPULL;
  HAL_GPIO_Init(B1_GPIO_Port, &GPIO_InitStruct);

  /*Configure GPIO pins : PC0 PC1 PC2 PC4
                           PC5 */
  GPIO_InitStruct.Pin = GPIO_PIN_0|GPIO_PIN_1|GPIO_PIN_2|GPIO_PIN_4
                          |GPIO_PIN_5;
  GPIO_InitStruct.Mode = GPIO_MODE_INPUT;
  GPIO_InitStruct.Pull = GPIO_PULLUP;
  HAL_GPIO_Init(GPIOC, &GPIO_InitStruct);

  /*Configure GPIO pins : SPI_CS_Pin PA6 */
  GPIO_InitStruct.Pin = SPI_CS_Pin|GPIO_PIN_6;
  GPIO_InitStruct.Mode = GPIO_MODE_OUTPUT_PP;
  GPIO_InitStruct.Pull = GPIO_NOPULL;
  GPIO_InitStruct.Speed = GPIO_SPEED_FREQ_LOW;
  HAL_GPIO_Init(GPIOA, &GPIO_InitStruct);

  /*Configure GPIO pins : PB0 PB1 PB4 PB5 */
  GPIO_InitStruct.Pin = GPIO_PIN_0|GPIO_PIN_1|GPIO_PIN_4|GPIO_PIN_5;
  GPIO_InitStruct.Mode = GPIO_MODE_INPUT;
  GPIO_InitStruct.Pull = GPIO_PULLUP;
  HAL_GPIO_Init(GPIOB, &GPIO_InitStruct);

}

/* USER CODE BEGIN 4 */
// Callback được gọi tự động khi DMA điền đầy NỬA SAU mảng adc_buffer (Pong)
void HAL_ADC_ConvCpltCallback(ADC_HandleTypeDef* hadc) {
    if(hadc->Instance == ADC1) {
    	adc1_ready = 1; // Luồng DMA của ADC1 xong -> Bật flag kênh 1
    }
    if(hadc->Instance == ADC2) {
    	adc2_ready = 1; // Luồng DMA của ADC2 xong -> Bật flag kênh 2
    }
}

// Callback được gọi tự động sau khi DMA hoàn thành việc bắn toàn bộ gói SPI sang ESP32
void HAL_SPI_TxCpltCallback(SPI_HandleTypeDef *hspi) {
    if(hspi->Instance == SPI1) {
        HAL_GPIO_WritePin(GPIOA, GPIO_PIN_4, GPIO_PIN_SET);// Kéo chân CS lên mức CAO để chốt quá trình truyền và giải phóng bus
        if (is_holding == 0){
        	HAL_ADC_Start_DMA(&hadc1, (uint32_t*)tx_packet.ch1, SAMPLES_PER_CH);
        	HAL_ADC_Start_DMA(&hadc2, (uint32_t*)tx_packet.ch2, SAMPLES_PER_CH);
        }
    }
}

// Hàm DSP xử lý tín hiệu: Tìm Max, Min, RMS, Vavg, Tần số và tính toán điểm Trigger
uint16_t Process_Signal(uint16_t* raw_data, float* vpp, float* freq, float* vavg, float* vrms, float* vamp) {
    uint16_t max = 0, min = 4095;
    uint32_t sum = 0;
    uint64_t sum_sq = 0;

    // 1. Quét mảng tìm Max, Min và Cộng dồn
    for(int i = 0; i < SAMPLES_PER_CH; i++) {
        uint16_t val = raw_data[i];
        if(val > max) max = val;
        if(val < min) min = val;
        sum += val;
        sum_sq += (uint64_t)val * val;
    }

    float adc_to_volt = 3.3f / 4095.0f;

    // 2. Tính toán Điện áp (Bỏ phép nhân 2 vì ông cắm thẳng máy FNIRSI 0-3V)
    *vpp = (float)(max - min) * adc_to_volt;
    *vamp = *vpp / 2.0f;

    float avg_raw = (float)sum / SAMPLES_PER_CH;
    *vavg = avg_raw * adc_to_volt;
    *vrms = sqrtf((float)sum_sq / SAMPLES_PER_CH) * adc_to_volt;

    // ---------------------------------------------------------
    // 3. THUẬT TOÁN ĐO TẦN SỐ (ĐÃ NÂNG CẤP CHỐNG NHIỄU GAI)
    // Dùng trung bình cộng làm Trigger Level thay vì Max/Min
    int16_t trigger_level = (int16_t)avg_raw;

    // Siết chặt độ trễ (Hysteresis) ở khoảng 10-40 đơn vị để nhạy bén hơn
    int16_t hysteresis = (max - min) * 2 / 100;
    if (hysteresis < 10) hysteresis = 10;
    if (hysteresis > 40) hysteresis = 40;

    int first_cross_freq = -1;
    int last_cross_freq = -1;
    int period_count = 0;

    uint8_t is_low = (raw_data[0] < trigger_level) ? 1 : 0;
    for(int i = 0; i < SAMPLES_PER_CH; i++) {
        if(is_low == 1 && raw_data[i] > (trigger_level + hysteresis)) {
            if (first_cross_freq == -1) {
                first_cross_freq = i; // Ghi nhận lần cắt đầu tiên
            } else {
                last_cross_freq = i;  // Cập nhật lần cắt cuối cùng
                period_count++;
            }
            is_low = 0;
        }
        else if(is_low == 0 && raw_data[i] < (trigger_level - hysteresis)) {
            is_low = 1;
        }
    }

    // Tính tần số an toàn, chống lỗi chia cho 0
    if(period_count > 0 && last_cross_freq > first_cross_freq) {
        *freq = (100000.0f * period_count) / (float)(last_cross_freq - first_cross_freq);
    } else {
        *freq = 0;
    }

    // ---------------------------------------------------------
    // 4. TÌM ĐIỂM NEO VẼ SÓNG (TRIGGER CHO ESP32)
    uint16_t display_trigger = 50;
    uint8_t trig_is_low = (raw_data[50] < trigger_level) ? 1 : 0;

    // Chỉ quét đến (1024 - 400) để đảm bảo ESP32 luôn có đủ 400 điểm ảnh để vẽ, không bị rác màn hình
    int max_trigger_index = SAMPLES_PER_CH - 400;

    for(int i = 50; i < max_trigger_index; i++) {
        if(trig_is_low == 1 && raw_data[i] > (trigger_level + hysteresis)) {
            display_trigger = i; // Chốt điểm Trigger!
            break;
        }
        else if(trig_is_low == 0 && raw_data[i] < (trigger_level - hysteresis)) {
            trig_is_low = 1;
        }
    }

    return display_trigger;
}
/* USER CODE END 4 */

void Error_Handler(void)
{
  __disable_irq();
  while (1)
  {
  }
}
